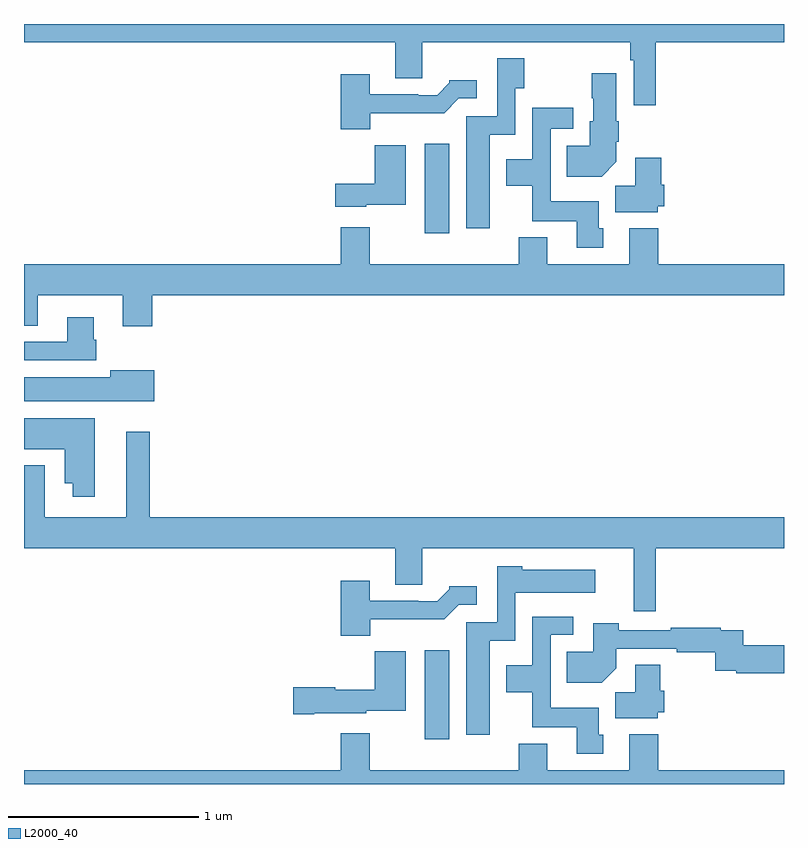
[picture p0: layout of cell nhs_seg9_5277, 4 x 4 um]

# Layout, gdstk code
import gdstk
lib = gdstk.Library(unit=1e-6, precision=1e-09)
def R(c, l, rs):  # rectangles x0, y0, x1, y1
    for r in rs: c.add(gdstk.rectangle(r[:2], r[2:], *l))
def P(c, l, *ps):  # polygons
    for p in ps: c.add(gdstk.Polygon(p, *l))
L2000_40 = (2000, 40)

nhs_seg9_5277 = lib.new_cell('nhs_seg9_5277')
R(nhs_seg9_5277, L2000_40, [(419.108,1208.736,419.239,1209.205), (419.108,1211.4,419.239,1211.869)])
P(nhs_seg9_5277, L2000_40, [(420.326,1212.404),(421,1212.404),(421,1212.5),(417,1212.5),(417,1212.404),(418.955,1212.404),(418.955,1212.214),(419.095,1212.214),(419.095,1212.404),(420.19,1212.404),(420.19,1212.308),(420.21,1212.308),(420.21,1212.072),(420.326,1212.072)],
  [(419.452,1211.918),(419.586,1211.918),(419.586,1212.163),(419.634,1212.163),(419.634,1212.319),(419.49,1212.319),(419.49,1212.015),(419.327,1212.015),(419.327,1211.424),(419.452,1211.424)],
  [(420.118,1211.774),(420.118,1211.881),(420.131,1211.881),(420.131,1211.988),(420.118,1211.988),(420.118,1212.241),(419.989,1212.241),(419.989,1212.108),(419.996,1212.108),(419.996,1211.988),(419.978,1211.988),(419.978,1211.86),(419.857,1211.86),(419.857,1211.696),(420.04,1211.696)],
  [(418.822,1212.03),(419.211,1212.03),(419.289,1212.108),(419.383,1212.108),(419.383,1212.205),(419.238,1212.205),(419.238,1212.19),(419.174,1212.126),(419.075,1212.126),(419.075,1212.129),(418.819,1212.129),(418.819,1212.235),(418.667,1212.235),(418.667,1211.945),(418.822,1211.945)],
  [(420.049,1211.424),(420.025,1211.424),(420.025,1211.566),(419.772,1211.566),(419.772,1211.949),(419.89,1211.949),(419.89,1212.058),(419.676,1212.058),(419.676,1211.788),(419.537,1211.788),(419.537,1211.648),(419.674,1211.648),(419.674,1211.462),(419.909,1211.462),(419.909,1211.322),(420.049,1211.322)],
  [(418.8,1211.549),(419.008,1211.549),(419.008,1211.863),(418.846,1211.863),(418.846,1211.659),(418.638,1211.659),(418.638,1211.537),(418.8,1211.537)],
  [(420.336,1211.541),(420.371,1211.541),(420.371,1211.655),(420.353,1211.655),(420.353,1211.797),(420.218,1211.797),(420.218,1211.648),(420.113,1211.648),(420.113,1211.51),(420.336,1211.51)],
  [(417.674,1211.072),(421,1211.072),(421,1211.236),(420.338,1211.236),(420.338,1211.425),(420.185,1211.425),(420.185,1211.236),(419.755,1211.236),(419.755,1211.377),(419.603,1211.377),(419.603,1211.236),(418.819,1211.236),(418.819,1211.431),(418.667,1211.431),(418.667,1211.236),(417,1211.236),(417,1210.912),(417.073,1210.912),(417.073,1211.072),(417.521,1211.072),(417.521,1210.908),(417.674,1210.908)],
  [(417.38,1210.839),(417.367,1210.839),(417.367,1210.957),(417.227,1210.957),(417.227,1210.827),(417,1210.827),(417,1210.731),(417.38,1210.731)],
  [(417.685,1210.678),(417.455,1210.678),(417.455,1210.642),(417,1210.642),(417,1210.514),(417.685,1210.514)],
  [(417.373,1210.426),(417,1210.426),(417,1210.262),(417.215,1210.262),(417.215,1210.082),(417.257,1210.082),(417.257,1210.011),(417.373,1210.011)],
  [(417,1210.177),(417,1209.74),(418.955,1209.74),(418.955,1209.55),(419.095,1209.55),(419.095,1209.74),(420.209,1209.74),(420.209,1209.408),(420.326,1209.408),(420.326,1209.74),(421,1209.74),(421,1209.904),(417.661,1209.904),(417.661,1210.354),(417.539,1210.354),(417.539,1209.904),(417.109,1209.904),(417.109,1210.177)],
  [(419.452,1209.254),(419.586,1209.254),(419.586,1209.506),(420.007,1209.506),(420.007,1209.628),(419.622,1209.628),(419.622,1209.646),(419.49,1209.646),(419.49,1209.351),(419.327,1209.351),(419.327,1208.76),(419.452,1208.76)],
  [(418.822,1209.366),(419.211,1209.366),(419.289,1209.444),(419.383,1209.444),(419.383,1209.541),(419.238,1209.541),(419.238,1209.526),(419.174,1209.462),(419.075,1209.462),(419.075,1209.465),(418.819,1209.465),(418.819,1209.571),(418.667,1209.571),(418.667,1209.281),(418.822,1209.281)],
  [(420.049,1208.76),(420.025,1208.76),(420.025,1208.902),(419.772,1208.902),(419.772,1209.285),(419.89,1209.285),(419.89,1209.381),(419.676,1209.381),(419.676,1209.124),(419.537,1209.124),(419.537,1208.984),(419.674,1208.984),(419.674,1208.798),(419.909,1208.798),(419.909,1208.658),(420.049,1208.658)],
  [(420.118,1209.11),(420.118,1209.213),(420.436,1209.213),(420.436,1209.193),(420.637,1209.193),(420.637,1209.095),(420.748,1209.095),(420.748,1209.083),(421,1209.083),(421,1209.23),(420.785,1209.23),(420.785,1209.309),(420.668,1209.309),(420.668,1209.322),(420.403,1209.322),(420.403,1209.309),(420.131,1209.309),(420.131,1209.346),(419.996,1209.346),(419.996,1209.196),(419.857,1209.196),(419.857,1209.032),(420.04,1209.032)],
  [(418.528,1208.873),(418.8,1208.873),(418.8,1208.885),(419.008,1208.885),(419.008,1209.199),(418.846,1209.199),(418.846,1208.995),(418.638,1208.995),(418.638,1209.008),(418.416,1209.008),(418.416,1208.866),(418.528,1208.866)],
  [(420.336,1208.877),(420.371,1208.877),(420.371,1208.991),(420.348,1208.991),(420.348,1209.128),(420.218,1209.128),(420.218,1208.984),(420.113,1208.984),(420.113,1208.846),(420.336,1208.846)],
  [(421,1208.572),(420.338,1208.572),(420.338,1208.761),(420.185,1208.761),(420.185,1208.572),(419.755,1208.572),(419.755,1208.713),(419.603,1208.713),(419.603,1208.572),(418.819,1208.572),(418.819,1208.767),(418.667,1208.767),(418.667,1208.572),(417,1208.572),(417,1208.5),(421,1208.5)])

lib.write_gds('nhs_seg9_5277.gds')
